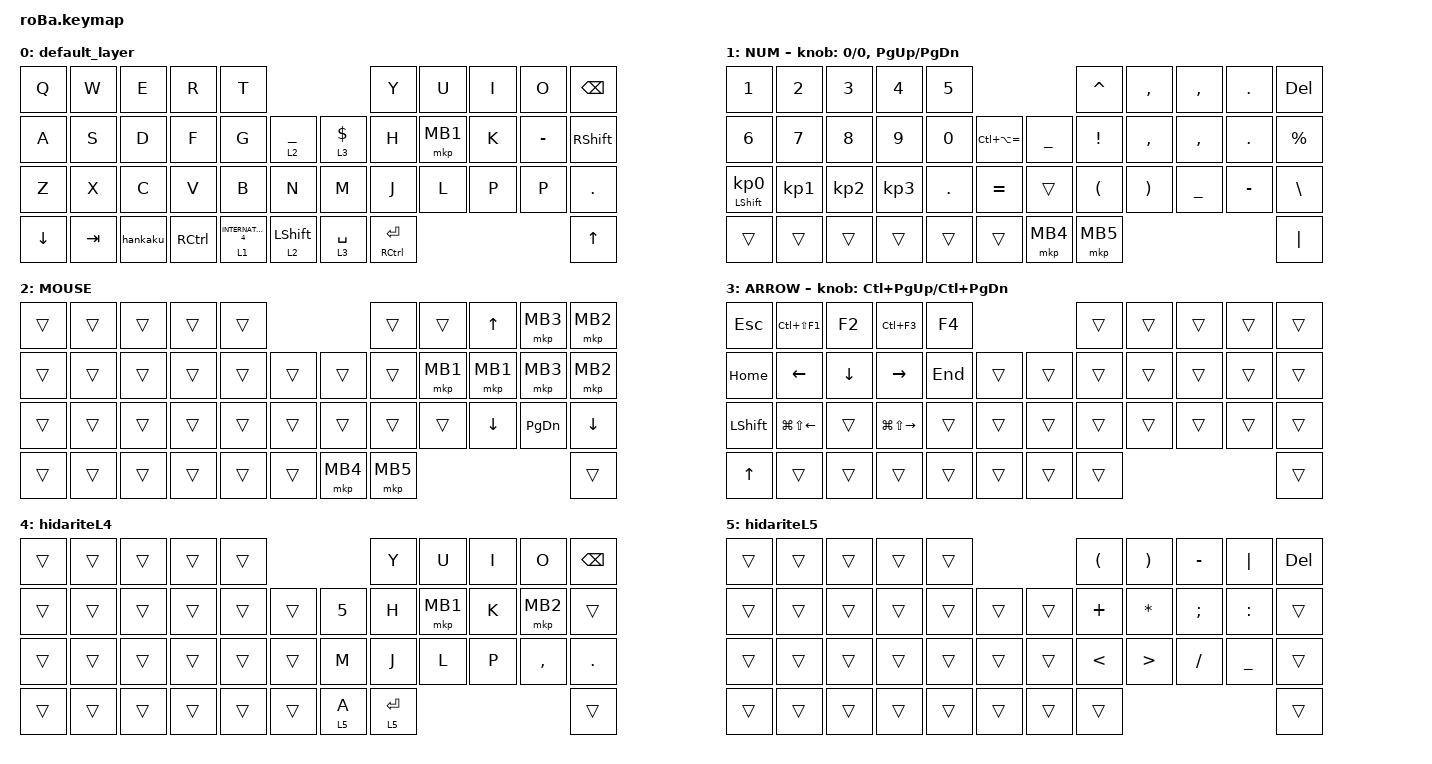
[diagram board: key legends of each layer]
#include <behaviors.dtsi>
#include <dt-bindings/zmk/keys.h>
#include <dt-bindings/zmk/pointing.h>

&mt {
    flavor = "balanced";
    quick-tap-ms = <0>;
};

&trackball {
    automouse-layer = <4>;
    scroll-layers = <5>;

    // arrows {
    //     layers = <3>;
    //     bindings =
    //         <&kp RIGHT_ARROW>,
    //         <&kp LEFT_ARROW>,
    //         <&kp UP_ARROW>,
    //         <&kp DOWN_ARROW>;
    //     tick = <10>;
    //     wait-ms = <5>;
    //     tap-ms = <5>;
    // };
};

/ {
    combos {
        compatible = "zmk,combos";

        new_layer {
            bindings = <&to 4>;
            key-positions = <16 21>;
        };
    };

    macros {
        hankaku: to_layer_0 {
            compatible = "zmk,behavior-macro";
            #binding-cells = <0>;
            bindings =
                <&macro_press>,
                <&kp LALT>,
                <&macro_tap>,
                <&kp GRAVE>,
                <&macro_release>,
                <&kp LALT>;

            label = "TO_LAYER_0";
        };
    };

    behaviors {
        lt_to_layer_0: lt_to_layer_0 {
            compatible = "zmk,behavior-hold-tap";
            label = "LAYER_TAP_TO_0";
            bindings = <&mo>, <&hankaku>;

            #binding-cells = <2>;
            tapping-term-ms = <200>;
        };
    };

    keymap {
        compatible = "zmk,keymap";

        default_layer {
            bindings = <
&kp Q           &kp W    &kp E     &kp R              &kp T                                                      &kp Y                    &kp U     &kp I  &kp O      &kp BACKSPACE
&kp A           &kp S    &kp D     &kp F              &kp G                  &lt 2 UNDERSCORE      &lt 3 DOLLAR  &kp H                    &mkp MB1  &kp K  &kp MINUS  &kp RIGHT_SHIFT
&kp Z           &kp X    &kp C     &kp V              &kp B                  &kp N                 &kp M         &kp J                    &kp L     &kp P  &kp P      &kp PERIOD
&kp DOWN_ARROW  &kp TAB  &hankaku  &kp RIGHT_CONTROL  &lt 1 INTERNATIONAL_4  &lt 2 LEFT_SHIFT      &lt 3 SPACE   &mt RIGHT_CONTROL ENTER                              &kp UP_ARROW
            >;
        };

        NUM {
            bindings = <
&kp NUMBER_1                &kp N2           &kp NUMBER_3     &kp NUMBER_4     &kp N5                                             &kp CARET             &kp COMMA              &kp COMMA  &kp PERIOD  &kp DELETE
&kp NUMBER_6                &kp N7           &kp N8           &kp N9           &kp N0      &kp LC(LA(EQUAL))      &kp UNDERSCORE  &kp EXCLAMATION       &kp COMMA              &kp COMMA  &kp PERIOD  &kp PERCENT
&mt LEFT_SHIFT KP_NUMBER_0  &kp KP_NUMBER_1  &kp KP_NUMBER_2  &kp KP_NUMBER_3  &kp PERIOD  &kp EQUAL              &trans          &kp LEFT_PARENTHESIS  &kp RIGHT_PARENTHESIS  &kp UNDER  &kp MINUS   &kp BACKSLASH
&trans                      &trans           &trans           &trans           &trans      &trans                 &mkp MB4        &mkp MB5                                                            &kp PIPE
            >;

            sensor-bindings =
                <&inc_dec_kp 0 0>,
                <&inc_dec_kp PAGE_UP PAGE_DOWN>;
        };

        MOUSE {
            bindings = <
&trans  &trans  &trans  &trans  &trans                        &trans    &trans    &kp UP_ARROW  &mkp MB3       &mkp MB2
&trans  &trans  &trans  &trans  &trans  &trans      &trans    &trans    &mkp MB1  &mkp MB1      &mkp MB3       &mkp MB2
&trans  &trans  &trans  &trans  &trans  &trans      &trans    &trans    &trans    &kp DOWN      &kp PAGE_DOWN  &kp DOWN
&trans  &trans  &trans  &trans  &trans  &trans      &mkp MB4  &mkp MB5                                         &trans
            >;
        };

        ARROW {
            bindings = <
&kp ESCAPE      &kp LC(LS(F1))          &kp F2          &kp LC(F3)               &kp F4                       &trans  &trans  &trans  &trans  &trans
&kp HOME        &kp LEFT_ARROW          &kp DOWN_ARROW  &kp RIGHT_ARROW          &kp END  &trans      &trans  &trans  &trans  &trans  &trans  &trans
&kp LEFT_SHIFT  &kp LG(LS(LEFT_ARROW))  &trans          &kp LG(LS(RIGHT_ARROW))  &trans   &trans      &trans  &trans  &trans  &trans  &trans  &trans
&kp UP_ARROW    &trans                  &trans          &trans                   &trans   &trans      &trans  &trans                          &trans
            >;

            sensor-bindings = <&inc_dec_kp LC(PAGE_UP) LC(PAGE_DOWN)>;
        };

        hidariteL4 {
            bindings = <
&trans  &trans  &trans  &trans  &trans                            &kp Y        &kp U     &kp I  &kp O      &kp BACKSPACE
&trans  &trans  &trans  &trans  &trans  &trans      &kp NUMBER_5  &kp H        &mkp MB1  &kp K  &mkp MB2   &trans
&trans  &trans  &trans  &trans  &trans  &trans      &kp M         &kp J        &kp L     &kp P  &kp COMMA  &kp PERIOD
&trans  &trans  &trans  &trans  &trans  &trans      &lt 5 A       &lt 5 ENTER                              &trans
            >;
        };

        hidariteL5 {
            bindings = <
&trans  &trans  &trans  &trans  &trans                      &kp LEFT_PARENTHESIS  &kp RIGHT_PARENTHESIS  &kp MINUS      &kp PIPE        &kp DEL
&trans  &trans  &trans  &trans  &trans  &trans      &trans  &kp PLUS              &kp ASTERISK           &kp SEMICOLON  &kp COLON       &trans
&trans  &trans  &trans  &trans  &trans  &trans      &trans  &kp LESS_THAN         &kp GREATER_THAN       &kp SLASH      &kp UNDERSCORE  &trans
&trans  &trans  &trans  &trans  &trans  &trans      &trans  &trans                                                                      &trans
            >;
        };
    };
};
